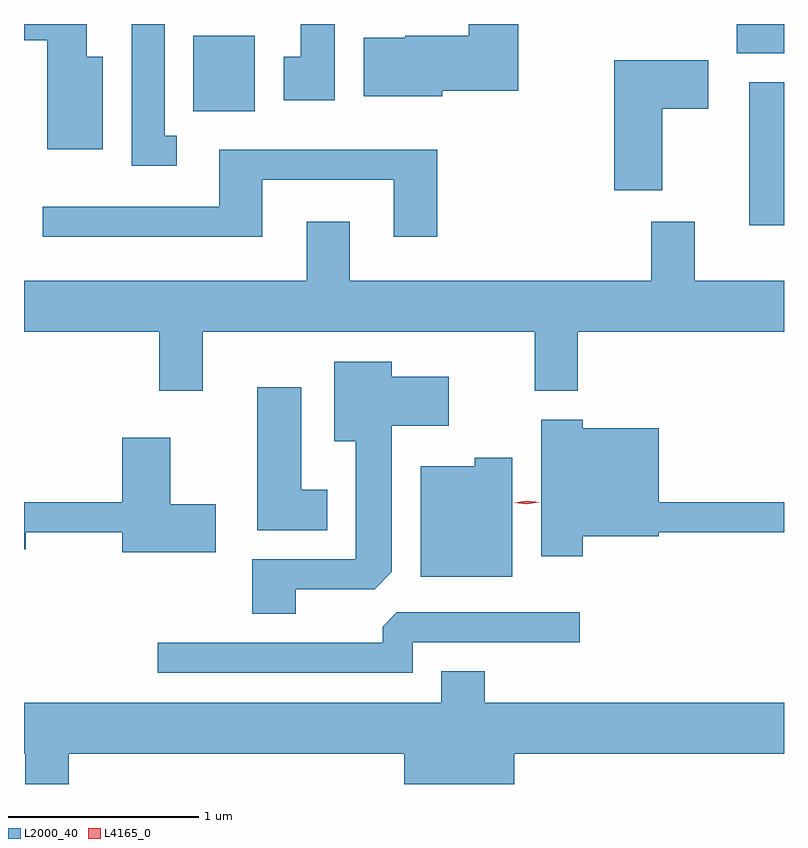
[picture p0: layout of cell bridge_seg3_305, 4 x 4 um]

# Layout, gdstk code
import gdstk
lib = gdstk.Library(unit=1e-6, precision=1e-09)
def R(c, l, rs):  # rectangles x0, y0, x1, y1
    for r in rs: c.add(gdstk.rectangle(r[:2], r[2:], *l))
def P(c, l, *ps):  # polygons
    for p in ps: c.add(gdstk.Polygon(p, *l))
L2000_40 = (2000, 40)
L4165_0 = (4165, 0)

bridge_seg3_305 = lib.new_cell('bridge_seg3_305')
R(bridge_seg3_305, L2000_40, [(544.561,1146.556,544.744,1147.309), (541.636,1147.156,541.959,1147.554), (544.496,1147.461,544.744,1147.616)])
P(bridge_seg3_305, L2000_40, [(541.159,1147.444),(541.074,1147.444),(541.074,1147.616),(540.744,1147.616),(540.744,1147.531),(540.866,1147.531),(540.866,1146.956),(541.159,1146.956)],
  [(542.944,1147.266),(543.344,1147.266),(543.344,1147.616),(543.086,1147.616),(543.086,1147.554),(542.75,1147.554),(542.75,1147.544),(542.531,1147.544),(542.531,1147.236),(542.944,1147.236)],
  [(541.548,1147.029),(541.484,1147.029),(541.484,1147.616),(541.311,1147.616),(541.311,1146.871),(541.548,1146.871)],
  [(542.379,1147.616),(542.201,1147.616),(542.201,1147.444),(542.111,1147.444),(542.111,1147.216),(542.379,1147.216)],
  [(544.104,1147.171),(544.344,1147.171),(544.344,1147.424),(543.851,1147.424),(543.851,1146.741),(544.104,1146.741)],
  [(541.999,1146.796),(542.691,1146.796),(542.691,1146.496),(542.919,1146.496),(542.919,1146.954),(541.771,1146.954),(541.771,1146.654),(540.843,1146.654),(540.843,1146.496),(541.999,1146.496)],
  [(541.684,1145.996),(543.431,1145.996),(543.431,1145.686),(543.659,1145.686),(543.659,1145.996),(544.744,1145.996),(544.744,1146.264),(544.274,1146.264),(544.274,1146.574),(544.046,1146.574),(544.046,1146.264),(542.459,1146.264),(542.459,1146.574),(542.231,1146.574),(542.231,1146.264),(540.744,1146.264),(540.744,1145.996),(541.456,1145.996),(541.456,1145.686),(541.684,1145.686)],
  [(542.174,1144.641),(542.589,1144.641),(542.679,1144.732),(542.679,1145.501),(542.979,1145.501),(542.979,1145.759),(542.679,1145.759),(542.679,1145.839),(542.376,1145.839),(542.376,1145.421),(542.491,1145.421),(542.491,1144.799),(541.946,1144.799),(541.946,1144.511),(542.174,1144.511)],
  [(542.339,1145.164),(542.204,1145.164),(542.204,1145.704),(541.971,1145.704),(541.971,1144.951),(542.339,1144.951)],
  [(543.684,1144.921),(544.084,1144.921),(544.084,1144.941),(544.744,1144.941),(544.744,1145.099),(544.084,1145.099),(544.084,1145.489),(543.684,1145.489),(543.684,1145.534),(543.466,1145.534),(543.466,1144.816),(543.684,1144.816)],
  [(541.754,1145.089),(541.514,1145.089),(541.514,1145.439),(541.261,1145.439),(541.261,1145.099),(540.744,1145.099),(540.744,1144.851),(540.754,1144.851),(540.754,1144.941),(541.261,1144.941),(541.261,1144.836),(541.754,1144.836)],
  [(543.314,1145.334),(543.116,1145.334),(543.116,1145.289),(542.831,1145.289),(542.831,1144.706),(543.314,1144.706)],
  [(542.789,1144.361),(543.668,1144.361),(543.668,1144.519),(542.707,1144.519),(542.631,1144.444),(542.631,1144.359),(541.448,1144.359),(541.448,1144.201),(542.789,1144.201)],
  [(540.979,1143.776),(542.746,1143.776),(542.746,1143.616),(543.324,1143.616),(543.324,1143.776),(544.744,1143.776),(544.744,1144.044),(543.169,1144.044),(543.169,1144.209),(542.941,1144.209),(542.941,1144.044),(540.744,1144.044),(540.744,1143.776),(540.751,1143.776),(540.751,1143.616),(540.979,1143.616)])
P(bridge_seg3_305, L4165_0, [(543.39,1145.088),(543.324,1145.096),(543.323,1145.097),(543.324,1145.097),(543.39,1145.108),(543.456,1145.099),(543.457,1145.098),(543.456,1145.098)])

lib.write_gds('bridge_seg3_305.gds')
